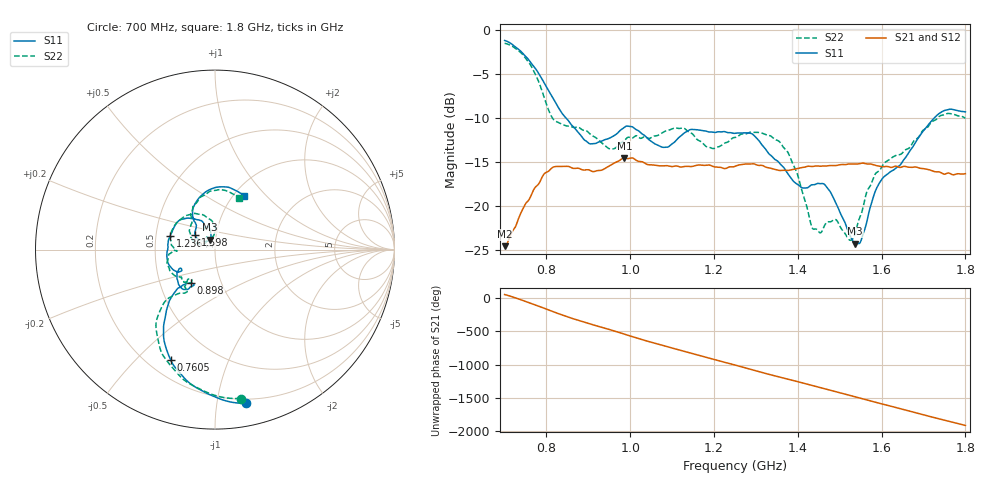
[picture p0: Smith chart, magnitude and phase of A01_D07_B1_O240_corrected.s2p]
! Created with skrf 1.9.0 (http://scikit-rf.org).
# Hz S RI R 50.0
!freq ReS11 ImS11 ReS21 ImS21 ReS12 ImS12 ReS22 ImS22
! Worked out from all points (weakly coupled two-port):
!   1601 points, 700 MHz to 1.8 GHz, reference 50 ohm
!   highest |S21| = -14.53 dB at 986 MHz (marker M1); lowest = -24.6 dB at 700.7 MHz (marker M2)
!   lowest |S11| = -24.3 dB at 1.537 GHz (marker M3), VSWR 1.13, Z = 47.1 + j5.19 ohm
!   |S11| at or under -10 dB: 847 MHz to 1.725 GHz (878.4 MHz wide, 68.3 % of centre)
!   |S22| runs from -23.9 to -1.5 dB; largest |S21 - S12| = 0.0037
!   S11 on the Smith chart (normalised r, x): 700 MHz: 0.17, -1.21; 760.5 MHz: 0.29, -0.64; 898 MHz: 0.72, -0.28; 1.236 GHz: 0.59, +0.10; 1.598 GHz: 0.79, +0.13; 1.8 GHz: 1.12, +0.76
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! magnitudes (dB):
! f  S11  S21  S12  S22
! 700 MHz  -1.2  -24.6  -24.4  -1.5
! 700.7 MHz  -1.2  -24.6  -24.3  -1.5
! 760.5 MHz  -3.6  -19.1  -19.0  -3.9
! 816.2 MHz  -7.8  -15.6  -15.7  -10.1
! 883.6 MHz  -12.1  -15.9  -15.8  -11.3
! 898 MHz  -12.7  -15.9  -15.9  -11.5
! 952.3 MHz  -12.2  -15.4  -15.4  -13.5
! 986 MHz  -11.0  -14.5  -14.6  -12.6
! 1.067 GHz  -13.1  -15.4  -15.4  -12.0
! 1.236 GHz  -11.7  -15.6  -15.7  -12.6
! 1.25 GHz  -11.7  -15.5  -15.4  -12.2
! 1.292 GHz  -11.8  -15.2  -15.2  -11.6
! 1.358 GHz  -15.2  -16.0  -15.9  -12.8
! 1.396 GHz  -17.5  -15.8  -15.8  -16.1
! 1.434 GHz  -17.6  -15.5  -15.5  -22.4
! 1.472 GHz  -18.1  -15.4  -15.4  -21.8
! 1.537 GHz  -24.3  -15.2  -15.2  -23.1
! 1.552 GHz  -23.8  -15.1  -15.2  -20.8
! 1.598 GHz  -17.1  -15.5  -15.5  -15.8
! 1.617 GHz  -16.3  -15.6  -15.5  -14.8
! 1.735 GHz  -9.5  -16.1  -16.2  -9.9
! 1.8 GHz  -9.3  -16.3  -16.3  -10.0
